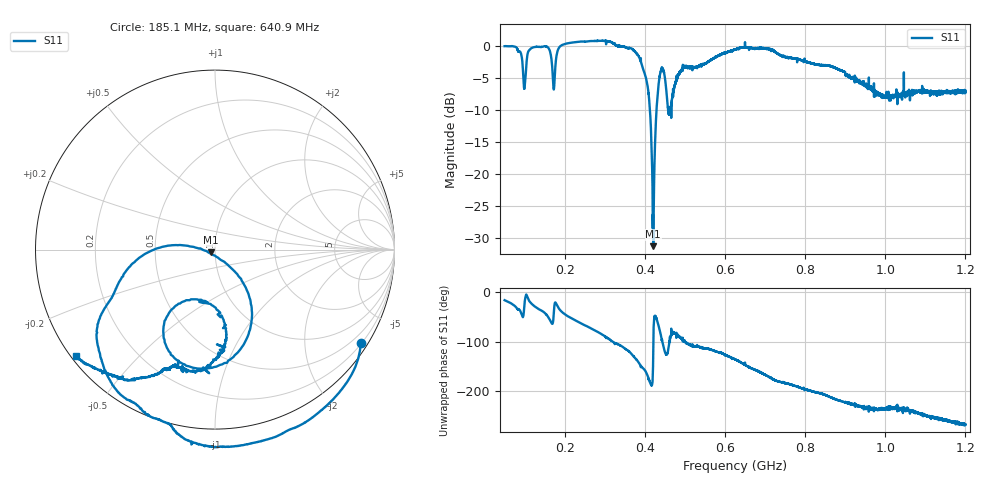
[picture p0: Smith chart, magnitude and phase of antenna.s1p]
! Calibrated high-resolution NanoVNA antenna measurement
# Hz S RI R 50
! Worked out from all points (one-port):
!   40001 points, 50 MHz to 1.2 GHz, reference 50 ohm
!   lowest |S11| = -31.3 dB at 420.8 MHz (marker M1), VSWR 1.06, Z = 47.8 - j1.5 ohm
!   |S11| at or under -10 dB: 412.7 MHz to 429.1 MHz (16.33 MHz wide, 3.88 % of centre); 458.1 MHz to 462.2 MHz (4.039 MHz wide, 0.878 % of centre); 462.7208 MHz to 463.6155 MHz (894.7 kHz wide, 0.193 % of centre) (the widest 3 of 9)
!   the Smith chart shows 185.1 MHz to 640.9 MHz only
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5e7  0.9598 -0.2804
8.933e7  0.7057 -0.5618
9.72075e7  0.3706 -0.3783
1.038488e8  0.6779 -0.0582
1.120138e8  0.8856 -0.2986
1.448462e8  0.7728 -0.6189
1.614062e8  0.5595 -0.7609
1.6891e8  0.2977 -0.6119
1.7719e8  0.6774 -0.2625
1.9375e8  0.7767 -0.665
2.729562e8  0.2604 -1.067
3.375e8  -0.2937 -0.9568
3.808838e8  -0.6428 -0.5789
4.011812e8  -0.5498 -0.2125
4.103812e8  -0.3916 -0.0256
4.2076e8  -0.0222 -0.0156
4.246412e8  0.0953 -0.1065
4.306212e8  0.2046 -0.3151
4.3916e8  0.0643 -0.6251
4.51005e8  -0.2883 -0.4518
4.617575e8  -0.0438 -0.2929
4.8125e8  0.0377 -0.5537
6.25e8  -0.669 -0.6598
6.979675e8  -0.9282 -0.236
7.6875e8  -0.7985 0.1051
9.125e8  -0.4092 0.4093
1.05625e9  -0.2269 0.3608
1.2e9  -0.0165 0.4332
